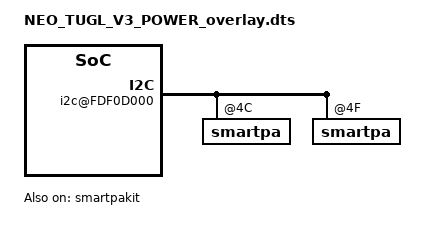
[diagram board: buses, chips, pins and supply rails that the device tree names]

/**
 * Copyright (C) 2014 Hisilicon Ltd.
 *
 *  This program is free software; you can redistribute it and/or modify
 *  it under the terms of the GNU General Public License version 2 as
 *  publishhed by the Free Software Foundation.
 */

/dts-v1/;
/plugin/;
/include/ "NEO_TUGL_V3_overlay.dtsi"

/ {
        board_id = <6482>;
};

&rootparam {
        hisi,dtbo_idx = <189>;
    hisi,boardid = <6 4 8 2>;
    hisi,boardname = "NEO_TUGL_V3_POWER";
};


&smartpakit{
    dsp_img_name = "hifi_6403_tas_devkit.img";
    status = "ok";
};

&amba {
    i2c@FDF0D000 {
        smartpa@4C{
            status = "ok";
        };
        smartpa@4F{
            status = "ok";
        };
        smartpa@34{
            status = "disabled";
        };
        smartpa@36{
            status = "disabled";
        };
    };
};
